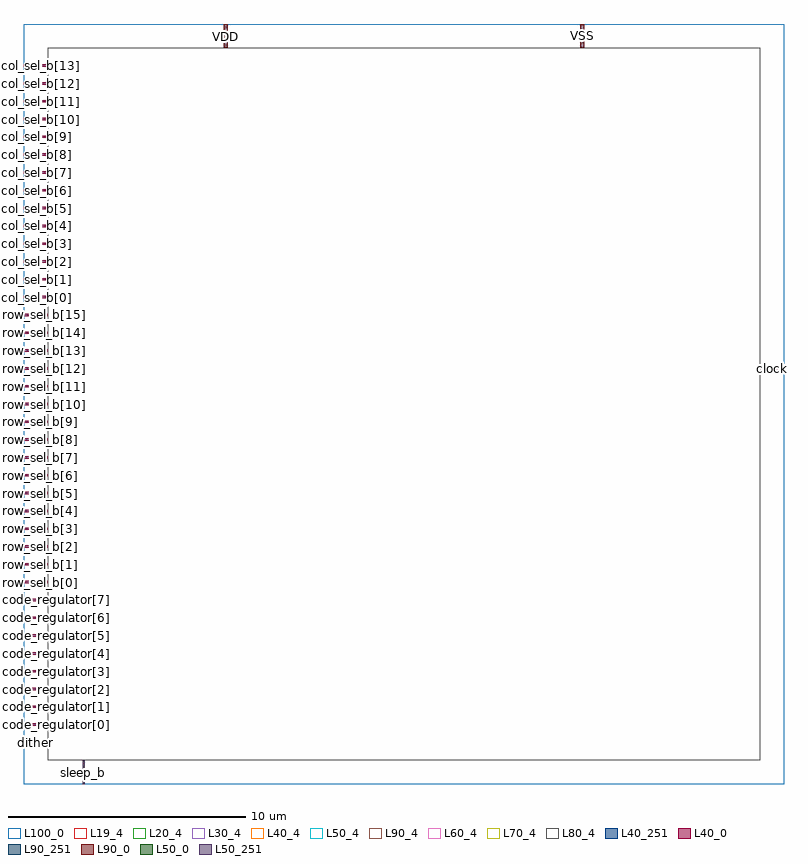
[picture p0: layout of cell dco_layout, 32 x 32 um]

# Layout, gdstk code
import gdstk
lib = gdstk.Library(unit=1e-6, precision=2.5e-10)
def R(c, l, rs):  # rectangles x0, y0, x1, y1
    for r in rs: c.add(gdstk.rectangle(r[:2], r[2:], *l))
def A(c, l, x, y, w, h, nx, ny, dx, dy):  # array of equal rectangles
    R(c, l, [(x+i*dx, y+j*dy, x+i*dx+w, y+j*dy+h) for i in range(nx) for j in range(ny)])
L19_4 = (19, 4)
L20_4 = (20, 4)
L30_4 = (30, 4)
L40_0 = (40, 0)
L40_4 = (40, 4)
L40_251 = (40, 251)
L50_0 = (50, 0)
L50_4 = (50, 4)
L50_251 = (50, 251)
L60_4 = (60, 4)
L70_4 = (70, 4)
L80_4 = (80, 4)
L90_0 = (90, 0)
L90_4 = (90, 4)
L90_251 = (90, 251)
L100_0 = (100, 0)

dco_layout = lib.new_cell('dco_layout')
R(dco_layout, L19_4, [(1,1,31,31)])
R(dco_layout, L20_4, [(1,1,31,31)])
R(dco_layout, L30_4, [(1,1,31,31)])
A(dco_layout, L40_0, 0, 1.702, 1, 0.096, 1, 24, 0, 0.75)
A(dco_layout, L40_0, 0, 20.452, 1, 0.096, 1, 14, 0, 0.75)
R(dco_layout, L40_0, [(31,17.452,32,17.548), (0.002,19.702,1.002,19.798)])
R(dco_layout, L40_4, [(1,1,31,31)])
A(dco_layout, L40_251, 0, 1.702, 1, 0.096, 1, 24, 0, 0.75)
A(dco_layout, L40_251, 0, 20.452, 1, 0.096, 1, 14, 0, 0.75)
R(dco_layout, L40_251, [(31,17.452,32,17.548), (0.002,19.702,1.002,19.798)])
R(dco_layout, L50_0, [(2.466,0,2.562,1)])
R(dco_layout, L50_4, [(1,1,31,31)])
R(dco_layout, L50_251, [(2.466,0,2.562,1)])
R(dco_layout, L60_4, [(1,1,31,31)])
R(dco_layout, L70_4, [(1,1,31,31)])
R(dco_layout, L80_4, [(1,1,31,31)])
R(dco_layout, L90_0, [(8.42,31,8.58,32), (23.432,31,23.592,32)])
R(dco_layout, L90_4, [(1,1,31,31)])
R(dco_layout, L90_251, [(8.42,31,8.58,32), (8.42,31,8.58,32), (23.432,31,23.592,32)])
R(dco_layout, L100_0, [(0,0,32.001,32)])
dco_layout.add(gdstk.Label('VDD', (8.5,31.491), layer=11, texttype=0))
dco_layout.add(gdstk.Label('clock', (31.5,17.5), layer=11, texttype=0))
dco_layout.add(gdstk.Label('sleep_b', (2.514,0.5), layer=11, texttype=0))
dco_layout.add(gdstk.Label('row_sel_b[15]', (0.502,19.75), layer=11, texttype=0))
dco_layout.add(gdstk.Label('dither', (0.5,1.75), layer=11, texttype=0))
dco_layout.add(gdstk.Label('code_regulator[0]', (0.5,2.5), layer=11, texttype=0))
dco_layout.add(gdstk.Label('code_regulator[1]', (0.5,3.25), layer=11, texttype=0))
dco_layout.add(gdstk.Label('code_regulator[2]', (0.5,4), layer=11, texttype=0))
dco_layout.add(gdstk.Label('code_regulator[3]', (0.5,4.75), layer=11, texttype=0))
dco_layout.add(gdstk.Label('code_regulator[4]', (0.5,5.5), layer=11, texttype=0))
dco_layout.add(gdstk.Label('code_regulator[5]', (0.5,6.25), layer=11, texttype=0))
dco_layout.add(gdstk.Label('code_regulator[6]', (0.5,7), layer=11, texttype=0))
dco_layout.add(gdstk.Label('code_regulator[7]', (0.5,7.75), layer=11, texttype=0))
dco_layout.add(gdstk.Label('row_sel_b[0]', (0.5,8.5), layer=11, texttype=0))
dco_layout.add(gdstk.Label('row_sel_b[1]', (0.5,9.25), layer=11, texttype=0))
dco_layout.add(gdstk.Label('row_sel_b[2]', (0.5,10), layer=11, texttype=0))
dco_layout.add(gdstk.Label('row_sel_b[3]', (0.5,10.75), layer=11, texttype=0))
dco_layout.add(gdstk.Label('row_sel_b[4]', (0.5,11.5), layer=11, texttype=0))
dco_layout.add(gdstk.Label('row_sel_b[5]', (0.5,12.25), layer=11, texttype=0))
dco_layout.add(gdstk.Label('row_sel_b[6]', (0.5,13), layer=11, texttype=0))
dco_layout.add(gdstk.Label('row_sel_b[7]', (0.5,13.75), layer=11, texttype=0))
dco_layout.add(gdstk.Label('row_sel_b[8]', (0.5,14.5), layer=11, texttype=0))
dco_layout.add(gdstk.Label('row_sel_b[9]', (0.5,15.25), layer=11, texttype=0))
dco_layout.add(gdstk.Label('col_sel_b[13]', (0.5,30.25), layer=11, texttype=0))
dco_layout.add(gdstk.Label('col_sel_b[12]', (0.5,29.5), layer=11, texttype=0))
dco_layout.add(gdstk.Label('col_sel_b[11]', (0.5,28.75), layer=11, texttype=0))
dco_layout.add(gdstk.Label('col_sel_b[10]', (0.5,28), layer=11, texttype=0))
dco_layout.add(gdstk.Label('col_sel_b[9]', (0.5,27.25), layer=11, texttype=0))
dco_layout.add(gdstk.Label('col_sel_b[8]', (0.5,26.5), layer=11, texttype=0))
dco_layout.add(gdstk.Label('col_sel_b[7]', (0.5,25.75), layer=11, texttype=0))
dco_layout.add(gdstk.Label('col_sel_b[6]', (0.5,25), layer=11, texttype=0))
dco_layout.add(gdstk.Label('col_sel_b[5]', (0.5,24.25), layer=11, texttype=0))
dco_layout.add(gdstk.Label('col_sel_b[4]', (0.5,23.5), layer=11, texttype=0))
dco_layout.add(gdstk.Label('col_sel_b[3]', (0.5,22.75), layer=11, texttype=0))
dco_layout.add(gdstk.Label('col_sel_b[2]', (0.5,22), layer=11, texttype=0))
dco_layout.add(gdstk.Label('col_sel_b[1]', (0.5,21.25), layer=11, texttype=0))
dco_layout.add(gdstk.Label('col_sel_b[0]', (0.5,20.5), layer=11, texttype=0))
dco_layout.add(gdstk.Label('row_sel_b[14]', (0.5,19), layer=11, texttype=0))
dco_layout.add(gdstk.Label('row_sel_b[13]', (0.5,18.25), layer=11, texttype=0))
dco_layout.add(gdstk.Label('row_sel_b[12]', (0.5,17.5), layer=11, texttype=0))
dco_layout.add(gdstk.Label('row_sel_b[11]', (0.5,16.75), layer=11, texttype=0))
dco_layout.add(gdstk.Label('row_sel_b[10]', (0.5,16), layer=11, texttype=0))
dco_layout.add(gdstk.Label('VSS', (23.512,31.5), layer=11, texttype=0))

lib.write_gds('dco_layout.gds')
